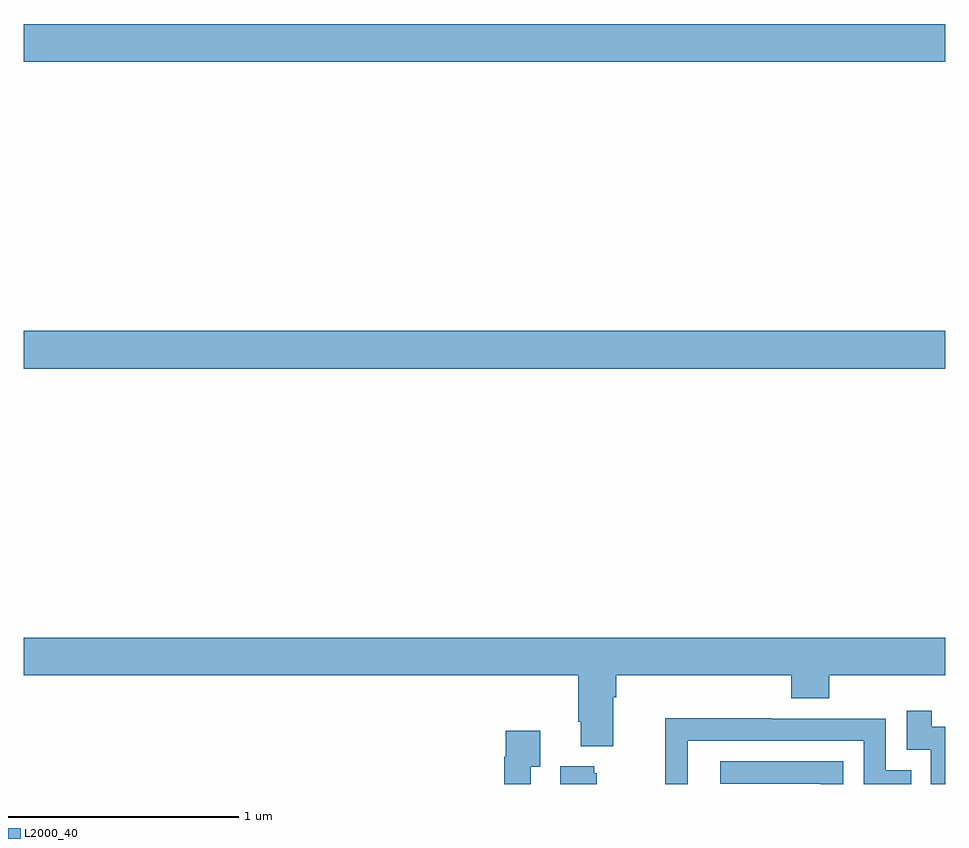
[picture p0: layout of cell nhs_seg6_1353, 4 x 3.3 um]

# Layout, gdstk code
import gdstk
lib = gdstk.Library(unit=1e-6, precision=1e-09)
def R(c, l, rs):  # rectangles x0, y0, x1, y1
    for r in rs: c.add(gdstk.rectangle(r[:2], r[2:], *l))
def P(c, l, *ps):  # polygons
    for p in ps: c.add(gdstk.Polygon(p, *l))
L2000_40 = (2000, 40)

nhs_seg6_1353 = lib.new_cell('nhs_seg6_1353')
R(nhs_seg6_1353, L2000_40, [(193,979.304,197,979.468), (193,980.636,197,980.8)])
P(nhs_seg6_1353, L2000_40, [(195.559,977.876),(195.572,977.876),(195.572,977.972),(196.331,977.972),(196.331,977.873),(196.496,977.873),(196.496,977.972),(197,977.972),(197,978.136),(193,978.136),(193,977.972),(195.407,977.972),(195.407,977.77),(195.419,977.77),(195.419,977.663),(195.559,977.663)],
  [(197,977.748),(196.942,977.748),(196.942,977.818),(196.833,977.818),(196.833,977.649),(196.938,977.649),(196.938,977.5),(197,977.5)],
  [(195.882,977.688),(196.647,977.688),(196.647,977.5),(196.853,977.5),(196.853,977.559),(196.743,977.559),(196.743,977.784),(196.247,977.784),(196.247,977.786),(195.784,977.786),(195.784,977.5),(195.882,977.5)],
  [(195.201,977.575),(195.241,977.575),(195.241,977.731),(195.093,977.731),(195.093,977.618),(195.085,977.618),(195.085,977.5),(195.201,977.5)],
  [(196.557,977.598),(196.023,977.598),(196.023,977.502),(196.461,977.502),(196.461,977.5),(196.557,977.5)],
  [(195.487,977.547),(195.476,977.547),(195.476,977.578),(195.329,977.578),(195.329,977.5),(195.487,977.5)])

lib.write_gds('nhs_seg6_1353.gds')
